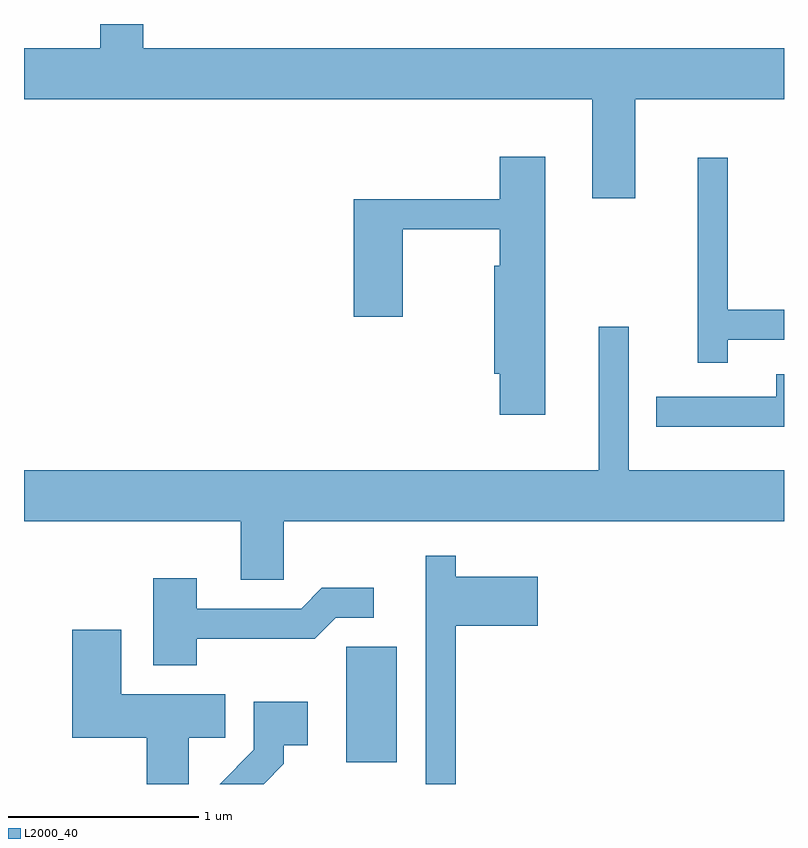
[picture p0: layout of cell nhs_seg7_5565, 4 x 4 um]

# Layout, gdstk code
import gdstk
lib = gdstk.Library(unit=1e-6, precision=1e-09)
def R(c, l, rs):  # rectangles x0, y0, x1, y1
    for r in rs: c.add(gdstk.rectangle(r[:2], r[2:], *l))
def P(c, l, *ps):  # polygons
    for p in ps: c.add(gdstk.Polygon(p, *l))
L2000_40 = (2000, 40)

nhs_seg7_5565 = lib.new_cell('nhs_seg7_5565')
R(nhs_seg7_5565, L2000_40, [(357.306,1726.366,357.574,1726.974)])
P(nhs_seg7_5565, L2000_40, [(358.829,1729.856),(359.611,1729.856),(359.611,1730.124),(356.239,1730.124),(356.239,1730.252),(356.011,1730.252),(356.011,1730.124),(355.611,1730.124),(355.611,1729.856),(358.601,1729.856),(358.601,1729.336),(358.829,1729.336)],
  [(358.354,1729.554),(358.116,1729.554),(358.116,1729.329),(357.346,1729.329),(357.346,1728.711),(357.604,1728.711),(357.604,1729.171),(358.116,1729.171),(358.116,1728.979),(358.086,1728.979),(358.086,1728.411),(358.116,1728.411),(358.116,1728.196),(358.354,1728.196)],
  [(359.314,1728.591),(359.611,1728.591),(359.611,1728.749),(359.314,1728.749),(359.314,1729.548),(359.156,1729.548),(359.156,1728.468),(359.314,1728.468)],
  [(356.979,1727.636),(359.611,1727.636),(359.611,1727.904),(358.794,1727.904),(358.794,1728.658),(358.636,1728.658),(358.636,1727.904),(355.611,1727.904),(355.611,1727.636),(356.751,1727.636),(356.751,1727.326),(356.979,1727.326)],
  [(359.611,1728.409),(359.571,1728.409),(359.571,1728.289),(358.938,1728.289),(358.938,1728.131),(359.611,1728.131)],
  [(357.884,1727.086),(358.314,1727.086),(358.314,1727.344),(357.884,1727.344),(357.884,1727.453),(357.726,1727.453),(357.726,1726.252),(357.884,1726.252)],
  [(356.519,1727.016),(357.142,1727.016),(357.252,1727.126),(357.453,1727.126),(357.453,1727.284),(357.179,1727.284),(357.069,1727.174),(356.519,1727.174),(356.519,1727.334),(356.291,1727.334),(356.291,1726.876),(356.519,1726.876)],
  [(356.479,1726.496),(356.669,1726.496),(356.669,1726.724),(356.124,1726.724),(356.124,1727.064),(355.866,1727.064),(355.866,1726.496),(356.256,1726.496),(356.256,1726.252),(356.479,1726.252)],
  [(356.979,1726.359),(356.979,1726.456),(357.104,1726.456),(357.104,1726.684),(356.821,1726.684),(356.821,1726.432),(356.641,1726.252),(356.872,1726.252)])

lib.write_gds('nhs_seg7_5565.gds')
